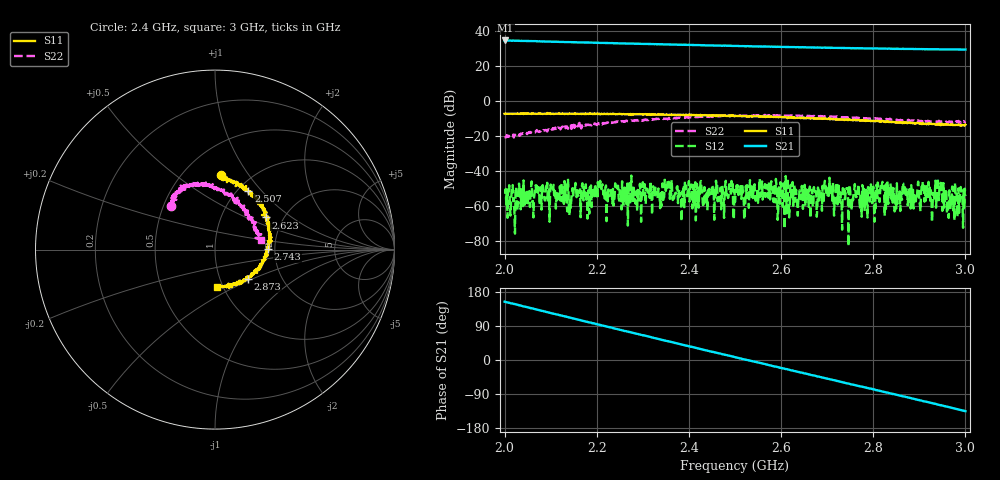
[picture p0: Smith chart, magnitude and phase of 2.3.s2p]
!Agilent Technologies,E8364A,US41440144,A.06.04.32
!Agilent E8364A: A.06.04.32
!Date: Wednesday, January 31, 2018 11:44:37
!Correction: S11(Full 2 Port(1,2)) S21(Full 2 Port(1,2)) S12(Full 2 Port(1,2)) S22(Full 2 Port(1,2))
!S2P File: Measurements: S11, S21, S12, S22:
# Hz S  dB  R 50
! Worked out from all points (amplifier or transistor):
!   801 points, 2 GHz to 3 GHz, reference 50 ohm
!   highest |S21| = 34.6 dB at 2.001 GHz (marker M1)
!   |S21| within 3 dB of that: start of sweep to 2.471 GHz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
!   unconditionally stable (mu >= 1): start of sweep to end of sweep
!   at 2.166 GHz: K = 3.69, MAG = 34.4 dB, |S12| = -52.6 dB
!   at 2.5 GHz: K = 7.34, MAG = 32.9 dB, |S12| = -57.6 dB
!   at 3 GHz: K = 7.67, MAG = 29.9 dB, |S12| = -54.1 dB
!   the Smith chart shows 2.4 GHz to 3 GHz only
!   S11 on the Smith chart (normalised r, x): 2.4 GHz: 0.75, +0.75; 2.507 GHz: 1.11, +0.85; 2.623 GHz: 1.62, +0.65; 2.743 GHz: 1.84, +0.01; 2.873 GHz: 1.35, -0.47; 3 GHz: 0.93, -0.41
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2e9  -7.27 178.1  34.58 153.9  -52.21 48.7  -20.80 172.6
2.00125e9  -7.22 177.3  34.61 153.5  -52.42 68.0  -20.75 170.2
2.04125e9  -7.41 167.1  34.37 141.3  -45.24 57.6  -18.50 174.1
2.07625e9  -7.11 160.1  34.16 131.3  -59.40 14.0  -17.48 166.3
2.12875e9  -7.21 147.4  33.71 115.6  -58.70 48.3  -15.37 162.9
2.1675e9  -7.37 138.1  33.50 104.1  -48.58 43.0  -13.84 145.6
2.2e9  -7.10 131.8  33.30 94.5  -49.32 -79.5  -13.65 155.3
2.24875e9  -7.35 119.9  33.00 80.0  -56.81 -29.7  -11.63 152.1
2.29e9  -7.45 110.6  32.71 68.4  -56.86 -41.5  -11.19 148.8
2.33375e9  -7.42 99.6  32.48 55.5  -49.89 -139.2  -10.20 141.4
2.4e9  -7.63 85.7  32.09 36.2  -45.63 -86.2  -9.31 135.2
2.4475e9  -8.31 74.7  31.79 22.6  -52.36 21.1  -8.83 130.5
2.5e9  -8.46 61.2  31.49 7.3  -57.57 -123.4  -8.40 123.6
2.5075e9  -8.47 60.5  31.41 5.4  -53.61 -71.4  -8.22 124.5
2.56375e9  -8.87 47.6  31.13 -10.2  -50.54 -37.3  -8.30 118.9
2.6225e9  -9.53 32.5  30.79 -27.4  -56.37 15.2  -8.34 108.4
2.6675e9  -9.74 20.7  30.65 -40.3  -50.61 -61.7  -8.65 101.5
2.7425e9  -10.55 0.4  30.27 -61.4  -49.65 -59.6  -9.15 88.8
2.83375e9  -11.87 -29.3  29.92 -87.2  -51.61 -154.9  -10.42 67.3
2.8725e9  -12.22 -42.1  29.80 -98.0  -49.59 -125.7  -10.94 59.6
2.93375e9  -13.29 -61.0  29.56 -115.7  -52.93 51.0  -11.53 35.5
3e9  -13.54 -87.4  29.43 -135.0  -54.09 -56.9  -11.68 11.7
